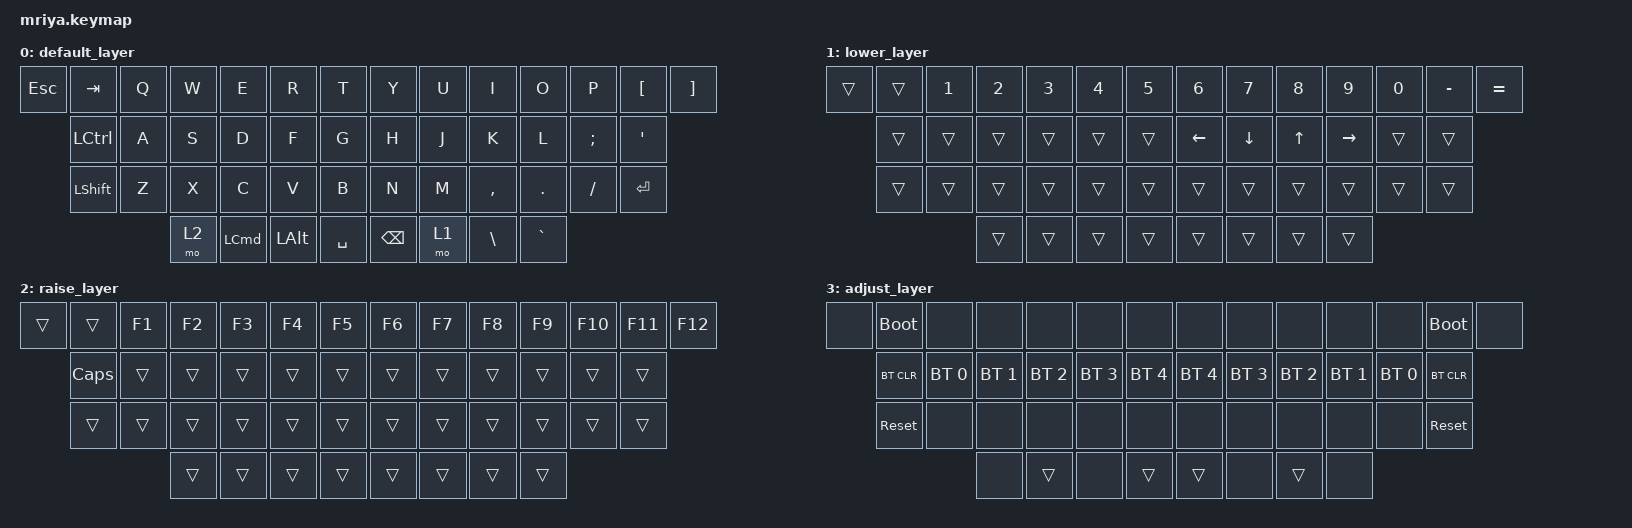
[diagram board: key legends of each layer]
/*
 * Copyright (c) 2023 Andrei Gaevskii
 *
 * SPDX-License-Identifier: MIT
 */

#include <behaviors.dtsi>
#include <dt-bindings/zmk/bt.h>
#include <dt-bindings/zmk/keys.h>

#define DEF 0
#define LWR 1
#define RSE 2
#define ADJ 3

&lt { quick_tap_ms = <200>; };

&mt { quick_tap_ms = <200>; };

/ {
    keymap {
        compatible = "zmk,keymap";

        default_layer {
            bindings = <
&kp ESCAPE  &kp TAB         &kp Q  &kp W  &kp E             &kp R         &kp T        &kp Y          &kp U  &kp I          &kp O      &kp P     &kp LBKT   &kp RIGHT_BRACKET
            &kp LCTRL       &kp A  &kp S  &kp D             &kp F         &kp G        &kp H          &kp J  &kp K          &kp L      &kp SEMI  &kp SQT
            &kp LEFT_SHIFT  &kp Z  &kp X  &kp C             &kp V         &kp B        &kp N          &kp M  &kp COMMA      &kp DOT    &kp FSLH  &kp ENTER
                                   &mo 2  &kp LEFT_COMMAND  &kp LEFT_ALT  &kp SPACE    &kp BACKSPACE  &mo 1  &kp BACKSLASH  &kp GRAVE
            >;
        };

        lower_layer {
            bindings = <
&trans  &trans  &kp NUMBER_1  &kp NUMBER_2  &kp NUMBER_3  &kp NUMBER_4  &kp NUMBER_5    &kp NUMBER_6    &kp NUMBER_7    &kp NUMBER_8  &kp NUMBER_9     &kp NUMBER_0  &kp MINUS  &kp EQUAL
        &trans  &trans        &trans        &trans        &trans        &trans          &kp LEFT_ARROW  &kp DOWN_ARROW  &kp UP_ARROW  &kp RIGHT_ARROW  &trans        &trans
        &trans  &trans        &trans        &trans        &trans        &trans          &trans          &trans          &trans        &trans           &trans        &trans
                              &trans        &trans        &trans        &trans          &trans          &trans          &trans        &trans
            >;
        };

        raise_layer {
            bindings = <
&trans  &trans        &kp F1  &kp F2  &kp F3  &kp F4  &kp F5    &kp F6  &kp F7  &kp F8  &kp F9  &kp F10  &kp F11  &kp F12
        &kp CAPSLOCK  &trans  &trans  &trans  &trans  &trans    &trans  &trans  &trans  &trans  &trans   &trans
        &trans        &trans  &trans  &trans  &trans  &trans    &trans  &trans  &trans  &trans  &trans   &trans
                              &trans  &trans  &trans  &trans    &trans  &trans  &trans  &trans
            >;
        };

        adjust_layer {
            bindings = <
&none  &bootloader  &none         &none         &none         &none         &none           &none         &none         &none         &none         &none         &bootloader  &none
       &bt BT_CLR   &bt BT_SEL 0  &bt BT_SEL 1  &bt BT_SEL 2  &bt BT_SEL 3  &bt BT_SEL 4    &bt BT_SEL 4  &bt BT_SEL 3  &bt BT_SEL 2  &bt BT_SEL 1  &bt BT_SEL 0  &bt BT_CLR
       &sys_reset   &none         &none         &none         &none         &none           &none         &none         &none         &none         &none         &sys_reset
                                  &none         &trans        &none         &trans          &trans        &none         &trans        &none
            >;
        };
    };

    conditional_layers {
        compatible = "zmk,conditional-layers";

        bt {
            if-layers = <1 2>;
            then-layer = <3>;
        };
    };
};
